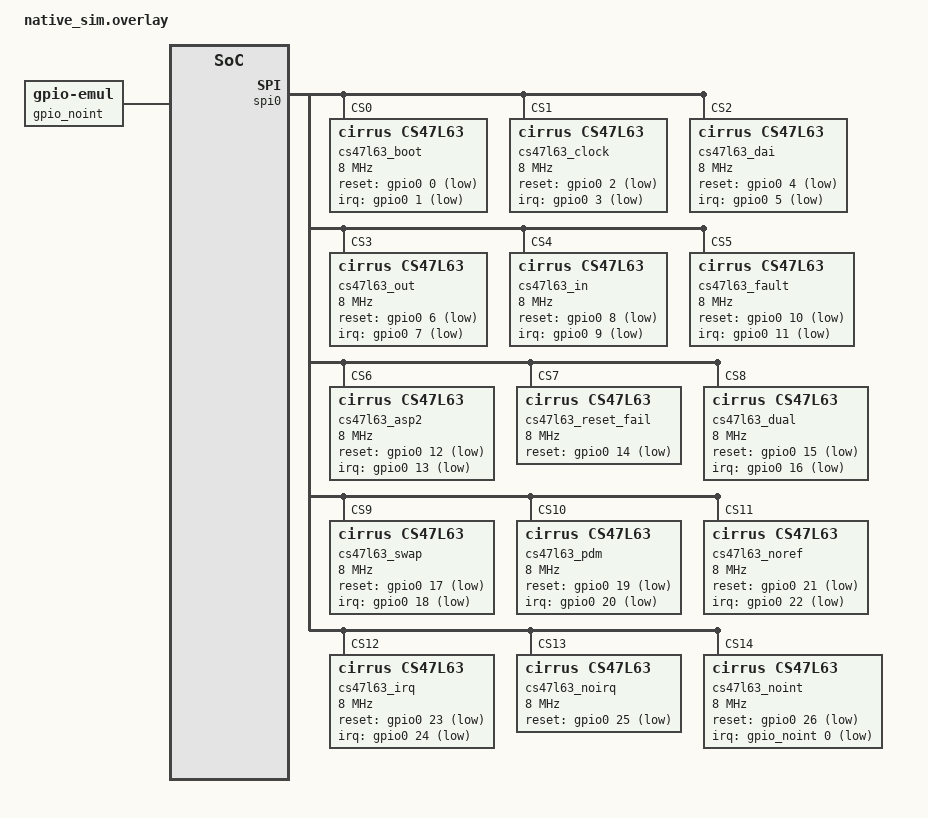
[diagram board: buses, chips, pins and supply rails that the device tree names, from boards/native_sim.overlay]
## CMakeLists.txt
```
# SPDX-FileCopyrightText: Copyright The Zephyr Project Contributors
# SPDX-License-Identifier: Apache-2.0

cmake_minimum_required(VERSION 3.20.0)
find_package(Zephyr REQUIRED HINTS $ENV{ZEPHYR_BASE})
project(cs47l63_test)

target_sources(app PRIVATE
  src/cs47l63_emul.c
  src/test_clock_solver.c
  src/test_clock_apply.c
  src/test_boot.c
  src/test_dai_configure.c
  src/test_output_path.c
  src/test_input_path.c
  src/test_fault.c
  src/test_asp2.c
  src/test_dual_asp.c
  src/test_gpio.c
  src/test_gpio_api.c
)

target_include_directories(app PRIVATE src "${ZEPHYR_BASE}/drivers/audio")
```

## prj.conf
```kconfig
# SPDX-FileCopyrightText: Copyright The Zephyr Project Contributors
# SPDX-License-Identifier: Apache-2.0

CONFIG_ZTEST=y

CONFIG_SPI=y
CONFIG_EMUL=y
CONFIG_SPI_EMUL=y
CONFIG_GPIO=y
CONFIG_GPIO_EMUL=y

CONFIG_AUDIO=y
CONFIG_AUDIO_CODEC=y
CONFIG_AUDIO_CODEC_CS47L63=y

CONFIG_LOG=y
```

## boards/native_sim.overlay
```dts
/*
 * SPDX-FileCopyrightText: Copyright The Zephyr Project Contributors
 * SPDX-License-Identifier: Apache-2.0
 */

/* One codec per suite, so no case depends on state another suite left. */

&spi0 {
	status = "okay";

	cs47l63_boot: cs47l63@0 {
		compatible = "cirrus,cs47l63";
		reg = <0>;
		spi-max-frequency = <8000000>;
		reset-gpios = <&gpio0 0 GPIO_ACTIVE_LOW>;
		irq-gpios = <&gpio0 1 (GPIO_ACTIVE_LOW | GPIO_PULL_UP)>;
		cirrus,fll-ref = "mclk1";
		status = "okay";
	};

	cs47l63_clock: cs47l63@1 {
		compatible = "cirrus,cs47l63";
		reg = <1>;
		spi-max-frequency = <8000000>;
		reset-gpios = <&gpio0 2 GPIO_ACTIVE_LOW>;
		irq-gpios = <&gpio0 3 (GPIO_ACTIVE_LOW | GPIO_PULL_UP)>;
		cirrus,fll-ref = "mclk1";
		status = "okay";
	};

	cs47l63_dai: cs47l63@2 {
		compatible = "cirrus,cs47l63";
		reg = <2>;
		spi-max-frequency = <8000000>;
		reset-gpios = <&gpio0 4 GPIO_ACTIVE_LOW>;
		irq-gpios = <&gpio0 5 (GPIO_ACTIVE_LOW | GPIO_PULL_UP)>;
		cirrus,fll-ref = "mclk1";
		status = "okay";
	};

	cs47l63_out: cs47l63@3 {
		compatible = "cirrus,cs47l63";
		reg = <3>;
		spi-max-frequency = <8000000>;
		reset-gpios = <&gpio0 6 GPIO_ACTIVE_LOW>;
		irq-gpios = <&gpio0 7 (GPIO_ACTIVE_LOW | GPIO_PULL_UP)>;
		cirrus,fll-ref = "mclk1";
		status = "okay";
	};

	cs47l63_in: cs47l63@4 {
		compatible = "cirrus,cs47l63";
		reg = <4>;
		spi-max-frequency = <8000000>;
		reset-gpios = <&gpio0 8 GPIO_ACTIVE_LOW>;
		irq-gpios = <&gpio0 9 (GPIO_ACTIVE_LOW | GPIO_PULL_UP)>;
		cirrus,fll-ref = "mclk1";
		status = "okay";
	};

	cs47l63_fault: cs47l63@5 {
		compatible = "cirrus,cs47l63";
		reg = <5>;
		spi-max-frequency = <8000000>;
		reset-gpios = <&gpio0 10 GPIO_ACTIVE_LOW>;
		irq-gpios = <&gpio0 11 (GPIO_ACTIVE_LOW | GPIO_PULL_UP)>;
		cirrus,fll-ref = "mclk1";
		status = "okay";
	};

	/* The one instance on ASP2, for test_asp2.c. */
	cs47l63_asp2: cs47l63@6 {
		compatible = "cirrus,cs47l63";
		reg = <6>;
		spi-max-frequency = <8000000>;
		reset-gpios = <&gpio0 12 GPIO_ACTIVE_LOW>;
		irq-gpios = <&gpio0 13 (GPIO_ACTIVE_LOW | GPIO_PULL_UP)>;
		cirrus,asp = <2>;
		cirrus,fll-ref = "mclk1";
		status = "okay";
	};

	/* No irq-gpios, and a reset line gpio_emul refuses to configure. */
	cs47l63_reset_fail: cs47l63@7 {
		compatible = "cirrus,cs47l63";
		reg = <7>;
		spi-max-frequency = <8000000>;
		reset-gpios = <&gpio0 14 (GPIO_ACTIVE_LOW | GPIO_OPEN_DRAIN)>;
		cirrus,fll-ref = "mclk1";
		status = "okay";
	};

	/* Both serial ports of one part: the parent on ASP1, its child on ASP2. */
	cs47l63_dual: cs47l63@8 {
		compatible = "cirrus,cs47l63";
		reg = <8>;
		spi-max-frequency = <8000000>;
		reset-gpios = <&gpio0 15 GPIO_ACTIVE_LOW>;
		irq-gpios = <&gpio0 16 (GPIO_ACTIVE_LOW | GPIO_PULL_UP)>;
		cirrus,fll-ref = "mclk1";
		status = "okay";

		cs47l63_dual_asp2: asp2 {
			cirrus,asp = <2>;
			cirrus,input = "pdm";
		};
	};

	/* The same pair with the ports swapped: the parent on ASP2. */
	cs47l63_swap: cs47l63@9 {
		compatible = "cirrus,cs47l63";
		reg = <9>;
		spi-max-frequency = <8000000>;
		reset-gpios = <&gpio0 17 GPIO_ACTIVE_LOW>;
		irq-gpios = <&gpio0 18 (GPIO_ACTIVE_LOW | GPIO_PULL_UP)>;
		cirrus,asp = <2>;
		cirrus,fll-ref = "mclk1";
		status = "okay";

		cs47l63_swap_asp1: asp1 {
			cirrus,asp = <1>;
		};
	};

	/* A PDM microphone on IN1, for test_input_path.c. */
	cs47l63_pdm: cs47l63@a {
		compatible = "cirrus,cs47l63";
		reg = <10>;
		spi-max-frequency = <8000000>;
		reset-gpios = <&gpio0 19 GPIO_ACTIVE_LOW>;
		irq-gpios = <&gpio0 20 (GPIO_ACTIVE_LOW | GPIO_PULL_UP)>;
		cirrus,input = "pdm";
		cirrus,fll-ref = "mclk1";
		status = "okay";
	};

	cs47l63_noref: cs47l63@b {
		compatible = "cirrus,cs47l63";
		reg = <11>;
		spi-max-frequency = <8000000>;
		reset-gpios = <&gpio0 21 GPIO_ACTIVE_LOW>;
		irq-gpios = <&gpio0 22 (GPIO_ACTIVE_LOW | GPIO_PULL_UP)>;
		status = "okay";
	};

	cs47l63_irq: cs47l63@c {
		compatible = "cirrus,cs47l63";
		reg = <12>;
		spi-max-frequency = <8000000>;
		reset-gpios = <&gpio0 23 GPIO_ACTIVE_LOW>;
		irq-gpios = <&gpio0 24 (GPIO_ACTIVE_LOW | GPIO_PULL_UP)>;
		cirrus,input = "pdm";
		cirrus,fll-ref = "mclk1";
		status = "okay";
	};

	cs47l63_noirq: cs47l63@d {
		compatible = "cirrus,cs47l63";
		reg = <13>;
		spi-max-frequency = <8000000>;
		reset-gpios = <&gpio0 25 GPIO_ACTIVE_LOW>;
		cirrus,fll-ref = "mclk1";
		status = "okay";
	};

	cs47l63_noint: cs47l63@e {
		compatible = "cirrus,cs47l63";
		reg = <14>;
		spi-max-frequency = <8000000>;
		reset-gpios = <&gpio0 26 GPIO_ACTIVE_LOW>;
		irq-gpios = <&gpio_noint 0 (GPIO_ACTIVE_LOW | GPIO_PULL_UP)>;
		cirrus,fll-ref = "mclk1";
		status = "okay";
	};
};

/ {
	gpio_noint: gpio_noint {
		compatible = "zephyr,gpio-emul";
		gpio-controller;
		#gpio-cells = <2>;
		status = "okay";
	};
};
```

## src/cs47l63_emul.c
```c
/*
 * SPDX-FileCopyrightText: Copyright The Zephyr Project Contributors
 * SPDX-License-Identifier: Apache-2.0
 */
/**
 * @file cs47l63_emul.c
 * @brief Recording SPI emulator for the CS47L63
 *
 * A frame that is not the driver's write or read shape fails with -EIO. EINT registers
 * are write-1-to-clear; every other register reads back what was written.
 */

#include "cs47l63_emul.h"

#include <errno.h>
#include <string.h>

#include <zephyr/audio/codec.h>
#include <zephyr/drivers/emul.h>
#include <zephyr/drivers/i2s.h>
#include <zephyr/drivers/spi.h>
#include <zephyr/drivers/spi_emul.h>
#include <zephyr/sys/__assert.h>
#include <zephyr/sys/byteorder.h>
#include <zephyr/sys/util.h>

#include "cs47l63.h"

#define DT_DRV_COMPAT cirrus_cs47l63

#define CS47L63_EMUL_READ_FLAG 0x80000000U

#define CS47L63_EMUL_WORD_BYTES  4
#define CS47L63_EMUL_READ_TX_LEN (2 * CS47L63_EMUL_WORD_BYTES)
#define CS47L63_EMUL_WRITE_LEN   (3 * CS47L63_EMUL_WORD_BYTES)

#define CS47L63_EMUL_MAX_REGS 64

#define CS47L63_EMUL_MAX_XFERS 512

#define CS47L63_EMUL_REVID 0x00000000U

#define CS47L63_EMUL_OTPID 0x00000008U

struct cs47l63_emul_reg {
	uint32_t addr;
	uint32_t val;
};

struct cs47l63_emul_data {
	struct cs47l63_emul_reg regs[CS47L63_EMUL_MAX_REGS];
	uint32_t num_regs;
	struct cs47l63_emul_xfer log[CS47L63_EMUL_MAX_XFERS];
	uint32_t num_xfers;
	uint32_t fail_addr;
	bool fail_armed;
	uint32_t fail_hits;
};

static bool is_write_one_to_clear(uint32_t addr)
{
	return addr == CS47L63_IRQ1_EINT_1 || addr == CS47L63_IRQ1_EINT_2 ||
	       addr == CS47L63_IRQ1_EINT_6;
}

static struct cs47l63_emul_reg *find_reg(struct cs47l63_emul_data *data, uint32_t addr)
{
	for (uint32_t i = 0; i < data->num_regs; i++) {
		if (data->regs[i].addr == addr) {
			return &data->regs[i];
		}
	}

	return NULL;
}

static void store_reg(struct cs47l63_emul_data *data, uint32_t addr, uint32_t val)
{
	struct cs47l63_emul_reg *reg = find_reg(data, addr);

	if (reg != NULL) {
		reg->val = val;
		return;
	}

	__ASSERT(data->num_regs < CS47L63_EMUL_MAX_REGS, "CS47L63 emulator register file full");
	data->regs[data->num_regs].addr = addr;
	data->regs[data->num_regs].val = val;
	data->num_regs++;
}

static uint32_t load_reg(struct cs47l63_emul_data *data, uint32_t addr)
{
	const struct cs47l63_emul_reg *reg = find_reg(data, addr);

	return (reg != NULL) ? reg->val : 0;
}

static void record(struct cs47l63_emul_data *data, uint32_t addr, uint32_t val, bool write)
{
	__ASSERT(data->num_xfers < CS47L63_EMUL_MAX_XFERS, "CS47L63 emulator log full");
	data->log[data->num_xfers].addr = addr;
	data->log[data->num_xfers].val = val;
	data->log[data->num_xfers].write = write;
	data->num_xfers++;
}

void cs47l63_emul_reset(const struct emul *target)
{
	struct cs47l63_emul_data *data = target->data;

	memset(data, 0, sizeof(*data));

	store_reg(data, CS47L63_DEVID, CS47L63_DEVID_CS47L63);
	store_reg(data, CS47L63_REVID, CS47L63_EMUL_REVID);
	store_reg(data, CS47L63_OTPID, CS47L63_EMUL_OTPID);
	store_reg(data, CS47L63_IRQ1_EINT_2, CS47L63_BOOT_DONE_EINT1);

	data->num_xfers = 0;
}

void cs47l63_emul_set_reg(const struct emul *target, uint32_t addr, uint32_t val)
{
	store_reg(target->data, addr, val);
}

uint32_t cs47l63_emul_get_reg(const struct emul *target, uint32_t addr)
{
	return load_reg(target->data, addr);
}

uint32_t cs47l63_emul_xfer_count(const struct emul *target)
{
	const struct cs47l63_emul_data *data = target->data;

	return data->num_xfers;
}

bool cs47l63_emul_xfer_get(const struct emul *target, uint32_t idx, struct cs47l63_emul_xfer *out)
{
	const struct cs47l63_emul_data *data = target->data;

	if (idx >= data->num_xfers || out == NULL) {
		return false;
	}

	*out = data->log[idx];

	return true;
}

static int nth_index(const struct emul *target, uint32_t addr, uint32_t nth, bool write)
{
	const struct cs47l63_emul_data *data = target->data;
	uint32_t seen = 0;

	for (uint32_t i = 0; i < data->num_xfers; i++) {
		if (data->log[i].addr != addr || data->log[i].write != write) {
			continue;
		}
		if (seen == nth) {
			return (int)i;
		}
		seen++;
	}

	return -1;
}

static uint32_t count_of(const struct emul *target, uint32_t addr, bool write)
{
	const struct cs47l63_emul_data *data = target->data;
	uint32_t count = 0;

	for (uint32_t i = 0; i < data->num_xfers; i++) {
		if (data->log[i].addr == addr && data->log[i].write == write) {
			count++;
		}
	}

	return count;
}

uint32_t cs47l63_emul_write_count(const struct emul *target, uint32_t addr)
{
	return count_of(target, addr, true);
}

uint32_t cs47l63_emul_read_count(const struct emul *target, uint32_t addr)
{
	return count_of(target, addr, false);
}

int cs47l63_emul_write_index(const struct emul *target, uint32_t addr, uint32_t nth)
{
	return nth_index(target, addr, nth, true);
}

int cs47l63_emul_read_index(const struct emul *target, uint32_t addr, uint32_t nth)
{
	return nth_index(target, addr, nth, false);
}

bool cs47l63_emul_nth_write(const struct emul *target, uint32_t addr, uint32_t nth, uint32_t *val)
{
	const struct cs47l63_emul_data *data = target->data;
	int idx = nth_index(target, addr, nth, true);

	if (idx < 0 || val == NULL) {
		return false;
	}

	*val = data->log[idx].val;

	return true;
}

void cs47l63_emul_fail_at(const struct emul *target, uint32_t addr)
{
	struct cs47l63_emul_data *data = target->data;

	data->fail_addr = addr;
	data->fail_armed = true;
}

uint32_t cs47l63_emul_fail_hits(const struct emul *target)
{
	const struct cs47l63_emul_data *data = target->data;

	return data->fail_hits;
}

struct audio_codec_cfg cs47l63_test_cfg(audio_route_t route)
{
	return (struct audio_codec_cfg){
		.mclk_freq = 6144000,
		.dai_type = AUDIO_DAI_TYPE_I2S,
		.dai_route = route,
		.dai_cfg.i2s = {
			.word_size = 16,
			.channels = 2,
			.format = I2S_FMT_DATA_FORMAT_I2S,
			.options = I2S_OPT_BIT_CLK_TARGET | I2S_OPT_FRAME_CLK_TARGET,
			.frame_clk_freq = 48000,
		},
	};
}

int cs47l63_test_configure(const struct device *dev, audio_route_t route)
{
	struct audio_codec_cfg cfg = cs47l63_test_cfg(route);

	return audio_codec_configure(dev, &cfg);
}

static int handle_read(struct cs47l63_emul_data *data, const struct spi_buf_set *tx_bufs,
		       const struct spi_buf_set *rx_bufs)
{
	uint32_t addr;
	uint32_t val;

	if (tx_bufs == NULL || tx_bufs->count != 1 ||
	    tx_bufs->buffers[0].len != CS47L63_EMUL_READ_TX_LEN ||
	    tx_bufs->buffers[0].buf == NULL) {
		return -EIO;
	}
	if (rx_bufs->count != 2 || rx_bufs->buffers[1].buf == NULL ||
	    rx_bufs->buffers[1].len != CS47L63_EMUL_WORD_BYTES) {
		return -EIO;
	}

	addr = sys_get_be32(tx_bufs->buffers[0].buf);
	if ((addr & CS47L63_EMUL_READ_FLAG) == 0) {
		return -EIO;
	}
	addr &= ~CS47L63_EMUL_READ_FLAG;

	if (sys_get_be32((const uint8_t *)tx_bufs->buffers[0].buf + CS47L63_EMUL_WORD_BYTES) != 0) {
		return -EIO;
	}

	if (data->fail_armed && data->fail_addr == addr) {
		data->fail_hits++;
		return -EIO;
	}

	val = load_reg(data, addr);
	sys_put_be32(val, rx_bufs->buffers[1].buf);
	record(data, addr, val, false);

	return 0;
}

static int handle_write(struct cs47l63_emul_data *data, const struct spi_buf_set *tx_bufs)
{
	const uint8_t *tx;
	uint32_t addr;
	uint32_t val;

	if (tx_bufs == NULL || tx_bufs->count != 1 ||
	    tx_bufs->buffers[0].len != CS47L63_EMUL_WRITE_LEN || tx_bufs->buffers[0].buf == NULL) {
		return -EIO;
	}

	tx = tx_bufs->buffers[0].buf;
	addr = sys_get_be32(tx);
	if ((addr & CS47L63_EMUL_READ_FLAG) != 0) {
		return -EIO;
	}
	if (sys_get_be32(tx + CS47L63_EMUL_WORD_BYTES) != 0) {
		return -EIO;
	}
	val = sys_get_be32(tx + 2 * CS47L63_EMUL_WORD_BYTES);

	if (data->fail_armed && data->fail_addr == addr) {
		data->fail_hits++;
		return -EIO;
	}

	record(data, addr, val, true);

	if (is_write_one_to_clear(addr)) {
		store_reg(data, addr, load_reg(data, addr) & ~val);
	} else {
		store_reg(data, addr, val);
	}

	return 0;
}

static int cs47l63_emul_io(const struct emul *target, const struct spi_config *config,
			   const struct spi_buf_set *tx_bufs, const struct spi_buf_set *rx_bufs)
{
	struct cs47l63_emul_data *data = target->data;

	ARG_UNUSED(config);

	if (rx_bufs != NULL) {
		return handle_read(data, tx_bufs, rx_bufs);
	}

	return handle_write(data, tx_bufs);
}

static int cs47l63_emul_init(const struct emul *target, const struct device *parent)
{
	ARG_UNUSED(parent);

	cs47l63_emul_reset(target);

	return 0;
}

static const struct spi_emul_api cs47l63_emul_api = {
	.io = cs47l63_emul_io,
};

#define CS47L63_EMUL_DEFINE(n)                                                                     \
	static struct cs47l63_emul_data cs47l63_emul_data_##n;                                     \
	EMUL_DT_INST_DEFINE(n, cs47l63_emul_init, &cs47l63_emul_data_##n, NULL, &cs47l63_emul_api, \
			    NULL)

DT_INST_FOREACH_STATUS_OKAY(CS47L63_EMUL_DEFINE)
```

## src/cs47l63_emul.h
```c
/*
 * SPDX-FileCopyrightText: Copyright The Zephyr Project Contributors
 * SPDX-License-Identifier: Apache-2.0
 */
/**
 * @file cs47l63_emul.h
 * @brief Recording SPI emulator for the CS47L63 and the reference configuration, for the
 *        driver's own tests
 */

#ifndef CS47L63_EMUL_H_
#define CS47L63_EMUL_H_

#include <stdbool.h>
#include <stdint.h>

#include <zephyr/audio/codec.h>
#include <zephyr/device.h>
#include <zephyr/drivers/emul.h>

#define CS47L63_EMUL_MCLK_HZ   6144000U
#define CS47L63_EMUL_WORD_BITS 16U
#define CS47L63_EMUL_CHANNELS  2U
#define CS47L63_EMUL_RATE_HZ   48000U

struct cs47l63_emul_xfer {
	uint32_t addr;
	/** Value written, or value served back on a read. */
	uint32_t val;
	bool write;
};

/** Installs a healthy part: the datasheet DEVID, OTP variant 8, boot-done latched. */
void cs47l63_emul_reset(const struct emul *target);

void cs47l63_emul_set_reg(const struct emul *target, uint32_t addr, uint32_t val);

uint32_t cs47l63_emul_get_reg(const struct emul *target, uint32_t addr);

uint32_t cs47l63_emul_xfer_count(const struct emul *target);

bool cs47l63_emul_xfer_get(const struct emul *target, uint32_t idx, struct cs47l63_emul_xfer *out);

uint32_t cs47l63_emul_write_count(const struct emul *target, uint32_t addr);

uint32_t cs47l63_emul_read_count(const struct emul *target, uint32_t addr);

/** Returns -1 for no such write; indices order transactions against each other. */
int cs47l63_emul_write_index(const struct emul *target, uint32_t addr, uint32_t nth);

int cs47l63_emul_read_index(const struct emul *target, uint32_t addr, uint32_t nth);

bool cs47l63_emul_nth_write(const struct emul *target, uint32_t addr, uint32_t nth, uint32_t *val);

/** Armed until the next reset, for one address at a time. */
void cs47l63_emul_fail_at(const struct emul *target, uint32_t addr);

/** Like cs47l63_emul_fail_at(), for writes to addr only; reads succeed. */
void cs47l63_emul_fail_write_at(const struct emul *target, uint32_t addr);

/** Makes every accepted write return @p ret, until the next reset. */
void cs47l63_emul_write_returns(const struct emul *target, int ret);

/** Runs @p fn once, from inside the next accepted write to @p addr, until the next reset. */
void cs47l63_emul_once_on_write(const struct emul *target, uint32_t addr, void (*fn)(void *arg),
				void *arg);

/** Transfers the armed failure refused since the last reset. */
uint32_t cs47l63_emul_fail_hits(const struct emul *target);

/** The reference stream: 48 kHz stereo 16-bit I2S from a 6.144 MHz MCLK, the host driving both
 *  clocks.
 */
struct audio_codec_cfg cs47l63_test_cfg(audio_route_t route);

int cs47l63_test_configure(const struct device *dev, audio_route_t route);

#endif /* CS47L63_EMUL_H_ */
```

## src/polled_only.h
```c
/*
 * SPDX-FileCopyrightText: Copyright The Zephyr Project Contributors
 * SPDX-License-Identifier: Apache-2.0
 */
/**
 * @file polled_only.h
 * @brief Checks shared by the parts that never arm the IRQ line
 */

#ifndef CS47L63_TEST_POLLED_ONLY_H_
#define CS47L63_TEST_POLLED_ONLY_H_

#include <stdint.h>

#include <zephyr/audio/codec.h>
#include <zephyr/device.h>
#include <zephyr/drivers/emul.h>
#include <zephyr/kernel.h>
#include <zephyr/sys/atomic.h>
#include <zephyr/ztest.h>

#include "cs47l63.h"

#include "cs47l63_emul.h"

#define POLLED_SETTLE_MS 100U

#define POLLED_START_WAIT_MS (CS47L63_START_TIMEOUT_MS + 100U)

static atomic_t s_cb_errors;
static atomic_t s_cb_calls;

static void polled_fault_cb(const struct device *dev, uint32_t errors)
{
	ARG_UNUSED(dev);
	(void)atomic_set(&s_cb_errors, (atomic_val_t)errors);
	(void)atomic_inc(&s_cb_calls);
}

static void polled_setup(const struct device *codec, const struct emul *emul)
{
	cs47l63_emul_reset(emul);
	zassert_ok(cs47l63_test_configure(codec, AUDIO_ROUTE_PLAYBACK_CAPTURE));

	(void)atomic_set(&s_cb_errors, 0);
	(void)atomic_set(&s_cb_calls, 0);
	zassert_ok(audio_codec_register_error_callback(codec, polled_fault_cb));
}

static void polled_teardown(const struct device *codec)
{
	audio_codec_stop_output(codec);
	zassert_ok(audio_codec_register_error_callback(codec, NULL));
}

static void polled_check_masks_untouched(const struct emul *emul)
{
	zassert_equal(cs47l63_emul_write_count(emul, CS47L63_IRQ1_MASK_1), 0U);
	zassert_equal(cs47l63_emul_write_count(emul, CS47L63_IRQ1_MASK_2), 0U);
	zassert_equal(cs47l63_emul_write_count(emul, CS47L63_IRQ1_MASK_6), 0U);
}

static void polled_check_reported_by_the_poll(const struct device *codec,
					      const struct emul *emul)
{
	audio_property_value_t unmute = {.mute = false};
	uint32_t reads;

	cs47l63_emul_set_reg(emul, CS47L63_IRQ1_STS_6, CS47L63_FLL1_LOCK_STS1);
	cs47l63_emul_set_reg(emul, CS47L63_OUTPUT_STATUS_1, CS47L63_OUT1L_EN_STS);
	audio_codec_start_output(codec);
	(void)k_msleep((int32_t)POLLED_START_WAIT_MS);
	zassert_equal(atomic_get(&s_cb_calls), 0, "the premise: the start itself raised nothing");

	reads = cs47l63_emul_read_count(emul, CS47L63_IRQ1_EINT_1);
	cs47l63_emul_set_reg(emul, CS47L63_IRQ1_EINT_1, CS47L63_SYSCLK_FAIL_EINT1);
	(void)k_msleep((int32_t)POLLED_SETTLE_MS);

	zassert_equal(cs47l63_emul_read_count(emul, CS47L63_IRQ1_EINT_1), reads,
		      "no service ran: the interrupt was never enabled");
	zassert_equal(atomic_get(&s_cb_calls), 0);

	zassert_ok(audio_codec_set_property(codec, AUDIO_PROPERTY_OUTPUT_MUTE, AUDIO_CHANNEL_ALL,
					    unmute));

	zassert_equal(atomic_get(&s_cb_calls), 1, "the poll still reports it");
	zassert_equal((uint32_t)atomic_get(&s_cb_errors), (uint32_t)AUDIO_CODEC_ERROR_CLOCK);
}

#endif /* CS47L63_TEST_POLLED_ONLY_H_ */
```

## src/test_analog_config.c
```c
/*
 * SPDX-FileCopyrightText: Copyright The Zephyr Project Contributors
 * SPDX-License-Identifier: Apache-2.0
 */
/**
 * @file test_analog_config.c
 * @brief Analog wiring taken from devicetree: the IN2 pair and the headphone load
 *
 * cs47l63_in (test_input_path.c) sets cirrus,in2-single-ended; cs47l63_diff leaves it out.
 * cs47l63_hp_low sets cirrus,hp-load-below-20-ohm; the nodes of the other suites leave it out.
 */

#include <errno.h>
#include <stdint.h>

#include <zephyr/audio/codec.h>
#include <zephyr/device.h>
#include <zephyr/kernel.h>
#include <zephyr/ztest.h>

#include "cs47l63.h"

#include "cs47l63_emul.h"

#define DIFF_CODEC DEVICE_DT_GET(DT_NODELABEL(cs47l63_diff))
#define DIFF_EMUL  EMUL_DT_GET(DT_NODELABEL(cs47l63_diff))
#define HP_CODEC   DEVICE_DT_GET(DT_NODELABEL(cs47l63_hp_low))
#define HP_EMUL    EMUL_DT_GET(DT_NODELABEL(cs47l63_hp_low))

#define START_WAIT_MS (CS47L63_START_TIMEOUT_MS + 100U)

/** DAC_IF_TEST_1 as the trim of OTP variant 8 writes it, HP1L_CFG = 010. */
#define DAC_IF_TEST_1_TRIMMED 0x700249B8U

/** The same with HP1L_CFG = 011 and every other bit as the trim left it. */
#define DAC_IF_TEST_1_LT20 0x700269B8U

static uint32_t in2_src(const struct emul *target, uint32_t addr)
{
	return (cs47l63_emul_get_reg(target, addr) & CS47L63_IN2_SRC_MASK) >> CS47L63_IN2_SRC_SHIFT;
}

static void diff_before_each(void *fixture)
{
	ARG_UNUSED(fixture);

	cs47l63_emul_reset(DIFF_EMUL);
	zassert_ok(cs47l63_test_configure(DIFF_CODEC, AUDIO_ROUTE_PLAYBACK_CAPTURE));
}

ZTEST_SUITE(cs47l63_diff, NULL, NULL, diff_before_each, NULL, NULL);

static ZTEST(cs47l63_diff, test_in2_without_the_property_is_differential)
{
	zassert_ok(audio_codec_start(DIFF_CODEC, AUDIO_DAI_DIR_RX));

	zassert_true(cs47l63_emul_write_count(DIFF_EMUL, CS47L63_IN2L_CONTROL1) > 0U,
		     "the premise: the start wrote the source of IN2L");
	zassert_true(cs47l63_emul_write_count(DIFF_EMUL, CS47L63_IN2R_CONTROL1) > 0U,
		     "and of IN2R");
	zassert_equal(in2_src(DIFF_EMUL, CS47L63_IN2L_CONTROL1), CS47L63_IN2_SRC_DIFFERENTIAL);
	zassert_equal(in2_src(DIFF_EMUL, CS47L63_IN2R_CONTROL1), CS47L63_IN2_SRC_DIFFERENTIAL);
}

static void hp_before_each(void *fixture)
{
	ARG_UNUSED(fixture);

	cs47l63_emul_reset(HP_EMUL);
}

ZTEST_SUITE(cs47l63_hp_low, NULL, NULL, hp_before_each, NULL, NULL);

static void arm_hp_write_failure(void *arg)
{
	ARG_UNUSED(arg);

	cs47l63_emul_fail_write_at(HP_EMUL, CS47L63_DAC_IF_TEST_1);
}

static ZTEST(cs47l63_hp_low, test_load_under_20_ohm_sets_only_hp1l_cfg_after_the_trim)
{
	uint32_t n;
	int amp_idx = -1;
	uint32_t val;

	zassert_ok(cs47l63_test_configure(HP_CODEC, AUDIO_ROUTE_PLAYBACK));

	zassert_equal(cs47l63_emul_get_reg(HP_EMUL, CS47L63_DAC_IF_TEST_1), DAC_IF_TEST_1_LT20,
		      "HP1L_CFG is 011 and the bits the trim set are untouched");

	n = cs47l63_emul_write_count(HP_EMUL, CS47L63_DAC_IF_TEST_1);
	zassert_equal(n, 2U, "the trim, then one update");
	zassert_true(cs47l63_emul_nth_write(HP_EMUL, CS47L63_DAC_IF_TEST_1, 0U, &val));
	zassert_equal(val, DAC_IF_TEST_1_TRIMMED, "the first write is the trim's");

	cs47l63_emul_set_reg(HP_EMUL, CS47L63_IRQ1_STS_6, CS47L63_FLL1_LOCK_STS1);
	cs47l63_emul_set_reg(HP_EMUL, CS47L63_OUTPUT_STATUS_1, CS47L63_OUT1L_EN_STS);
	audio_codec_start_output(HP_CODEC);
	(void)k_msleep((int32_t)START_WAIT_MS);
	audio_codec_stop_output(HP_CODEC);

	n = cs47l63_emul_write_count(HP_EMUL, CS47L63_OUTPUT_ENABLE_1);
	for (uint32_t i = 0U; i < n; i++) {
		zassert_true(cs47l63_emul_nth_write(HP_EMUL, CS47L63_OUTPUT_ENABLE_1, i, &val));
		if ((val & CS47L63_OUT1L_EN) != 0U) {
			amp_idx = cs47l63_emul_write_index(HP_EMUL, CS47L63_OUTPUT_ENABLE_1, i);
			break;
		}
	}

	zassert_true(amp_idx >= 0, "the premise: the start enabled the amplifier");
	zassert_true(cs47l63_emul_write_index(HP_EMUL, CS47L63_DAC_IF_TEST_1, 1U) >
			     cs47l63_emul_write_index(HP_EMUL, CS47L63_DAC_IF_TEST_1, 0U),
		     "the update comes after the trim, which rewrites the whole register");
	zassert_true(amp_idx > cs47l63_emul_write_index(HP_EMUL, CS47L63_DAC_IF_TEST_1, 1U),
		     "and before the amplifier is enabled");
}

static ZTEST(cs47l63_hp_low, test_failed_hp1l_cfg_update_fails_configure)
{
	cs47l63_emul_once_on_write(HP_EMUL, CS47L63_DAC_IF_TEST_1, arm_hp_write_failure, NULL);

	zassert_equal(-EIO, cs47l63_test_configure(HP_CODEC, AUDIO_ROUTE_PLAYBACK));

	zassert_equal(cs47l63_emul_fail_hits(HP_EMUL), 1U,
		      "the injection took effect: the update after the trim was refused");
	zassert_equal(cs47l63_emul_get_reg(HP_EMUL, CS47L63_OUTPUT_ENABLE_1) & CS47L63_OUT1L_EN, 0U,
		      "a failed configure leaves the amplifier disabled");
	zassert_equal(-EINVAL, audio_codec_start(HP_CODEC, AUDIO_DAI_DIR_TX),
		      "and the port unconfigured");
}
```

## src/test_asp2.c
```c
/*
 * SPDX-FileCopyrightText: Copyright The Zephyr Project Contributors
 * SPDX-License-Identifier: Apache-2.0
 */
/**
 * @file test_asp2.c
 * @brief cirrus,asp = <2>: every serial-port access moves to ASP2
 *
 * ASP2 addresses are written out from DS1249F2 sections 4.7-4.8, not derived from the
 * ASP1 names, so a wrong driver offset cannot cancel out. ASP1 must stay untouched.
 */

#include <stdint.h>

#include <zephyr/audio/codec.h>
#include <zephyr/device.h>
#include <zephyr/ztest.h>

#include "cs47l63.h"

#include "cs47l63_emul.h"

#define CODEC DEVICE_DT_GET(DT_NODELABEL(cs47l63_asp2))
#define EMUL  EMUL_DT_GET(DT_NODELABEL(cs47l63_asp2))

/* ASP2 registers, DS1249F2 register map. */
#define ASP2_ENABLES1      0x00006080U
#define ASP2_CONTROL1      0x00006084U
#define ASP2_CONTROL2      0x00006088U
#define ASP2_DATA_CONTROL1 0x000060B0U
#define ASP2_DATA_CONTROL5 0x000060C0U
#define ASP2TX1_INPUT1     0x00008300U
#define ASP2TX2_INPUT1     0x00008310U
#define GPIO5_CTRL1        0x00000C18U
#define GPIO6_CTRL1        0x00000C1CU
#define GPIO7_CTRL1        0x00000C20U
#define GPIO8_CTRL1        0x00000C24U

#define MIXER_SRC_ASP2RX1 0x030U
#define MIXER_SRC_ASP2RX2 0x031U

#define OUTPUT_HP 0U

#define ASP_RX_EN_BOTH (CS47L63_ASP1_RX1_EN | CS47L63_ASP1_RX2_EN)
#define ASP_TX_EN_BOTH (CS47L63_ASP1_TX1_EN | CS47L63_ASP1_TX2_EN)

#define MIX_SLOT(src) (((uint32_t)CS47L63_OUT1LMIX_VOL_0DB << CS47L63_OUT1LMIX_VOL_SHIFT) | (src))
/** One of two routed slots: each at -6 dB, so their sum cannot clip. */
#define MIX_PAIR(src) (((uint32_t)CS47L63_OUT1LMIX_VOL_M6DB << CS47L63_OUT1LMIX_VOL_SHIFT) | (src))

/** Both slot widths, the format code, and every clock-controller and inversion bit low. */
#define EXPECT_CONTROL2                                                                            \
	((CS47L63_EMUL_WORD_BITS << CS47L63_ASP1_RX_WIDTH_SHIFT) |                                 \
	 (CS47L63_EMUL_WORD_BITS << CS47L63_ASP1_TX_WIDTH_SHIFT) |                                 \
	 ((uint32_t)CS47L63_ASP1_FMT_I2S << CS47L63_ASP1_FMT_SHIFT))

static void assert_asp1_untouched(void)
{
	static const uint32_t k_asp1_only[] = {
		CS47L63_ASP1_ENABLES1,      CS47L63_ASP1_CONTROL1,      CS47L63_ASP1_CONTROL2,
		CS47L63_ASP1_DATA_CONTROL1, CS47L63_ASP1_DATA_CONTROL5, CS47L63_ASP1TX1_INPUT1,
		CS47L63_ASP1TX2_INPUT1,     CS47L63_GPIO1_CTRL1,        CS47L63_GPIO2_CTRL1,
		CS47L63_GPIO3_CTRL1,        CS47L63_GPIO4_CTRL1,
	};

	for (size_t i = 0U; i < ARRAY_SIZE(k_asp1_only); i++) {
		zassert_equal(cs47l63_emul_write_count(EMUL, k_asp1_only[i]), 0U,
			      "ASP1 register 0x%05x written on an ASP2 board", k_asp1_only[i]);
		zassert_equal(cs47l63_emul_read_count(EMUL, k_asp1_only[i]), 0U,
			      "ASP1 register 0x%05x read on an ASP2 board", k_asp1_only[i]);
	}
}

static void asp2_before_each(void *fixture)
{
	ARG_UNUSED(fixture);

	cs47l63_emul_reset(EMUL);
	zassert_ok(cs47l63_test_configure(CODEC, AUDIO_ROUTE_PLAYBACK_CAPTURE));
}

ZTEST_SUITE(cs47l63_asp2, NULL, NULL, asp2_before_each, NULL, NULL);

static ZTEST(cs47l63_asp2, test_configure_programs_the_asp2_port_block)
{
	zassert_equal((cs47l63_emul_get_reg(EMUL, ASP2_CONTROL1) & CS47L63_ASP1_RATE_MASK) >>
			      CS47L63_ASP1_RATE_SHIFT,
		      CS47L63_ASP1_RATE_SEL_SAMPLE_RATE1);
	zassert_true(cs47l63_emul_write_count(EMUL, ASP2_CONTROL2) >= 1U);
	zassert_equal(cs47l63_emul_get_reg(EMUL, ASP2_CONTROL2), EXPECT_CONTROL2);
	zassert_equal(cs47l63_emul_get_reg(EMUL, ASP2_DATA_CONTROL1) & CS47L63_ASP1_TX_WL_MASK,
		      CS47L63_EMUL_WORD_BITS);
	zassert_equal(cs47l63_emul_get_reg(EMUL, ASP2_DATA_CONTROL5) & CS47L63_ASP1_RX_WL_MASK,
		      CS47L63_EMUL_WORD_BITS);
	zassert_equal(cs47l63_emul_get_reg(EMUL, ASP2_ENABLES1), 0U, "the slots wait for a start");

	audio_codec_start_output(CODEC);
	zassert_equal(cs47l63_emul_get_reg(EMUL, ASP2_ENABLES1), ASP_RX_EN_BOTH,
		      "both receive slots of ASP2 carry the stereo stream");

	assert_asp1_untouched();
}

static ZTEST(cs47l63_asp2, test_configure_muxes_gpio5_to_8)
{
	static const struct {
		uint32_t addr;
		uint32_t val;
	} k_pads[] = {
		{GPIO5_CTRL1, CS47L63_GP_CTRL1_ASP_PAD},
		{GPIO6_CTRL1, CS47L63_GP_CTRL1_ASP_PAD | CS47L63_GP_DIR_INPUT},
		{GPIO7_CTRL1, CS47L63_GP_CTRL1_ASP_PAD | CS47L63_GP_DIR_INPUT},
		{GPIO8_CTRL1, CS47L63_GP_CTRL1_ASP_PAD | CS47L63_GP_DIR_INPUT},
	};

	/* GPIO5 (DOUT) is an output; DIN, BCLK and FSYNC are inputs. */
	for (size_t i = 0U; i < ARRAY_SIZE(k_pads); i++) {
		uint32_t val;

		zassert_true(cs47l63_emul_nth_write(EMUL, k_pads[i].addr, 0U, &val),
			     "pad 0x%05x must be muxed to its ASP function", k_pads[i].addr);
		zassert_equal(val, k_pads[i].val, "pad 0x%05x got the wrong configuration",
			      k_pads[i].addr);
	}

	assert_asp1_untouched();
}

static ZTEST(cs47l63_asp2, test_output_mixer_takes_the_asp2_receive_channels)
{
	audio_codec_start_output(CODEC);

	zassert_equal(cs47l63_emul_get_reg(EMUL, CS47L63_OUT1L_INPUT1),
		      MIX_PAIR(MIXER_SRC_ASP2RX1));
	zassert_equal(cs47l63_emul_get_reg(EMUL, CS47L63_OUT1L_INPUT2),
		      MIX_PAIR(MIXER_SRC_ASP2RX2));

	zassert_ok(audio_codec_route_output(CODEC, AUDIO_CHANNEL_FRONT_LEFT,
					    OUTPUT_HP));
	zassert_equal(cs47l63_emul_get_reg(EMUL, CS47L63_OUT1L_INPUT1),
		      MIX_SLOT(MIXER_SRC_ASP2RX1));
	zassert_equal(cs47l63_emul_get_reg(EMUL, CS47L63_OUT1L_INPUT2),
		      MIX_SLOT(CS47L63_MIXER_SRC_NONE));

	zassert_ok(audio_codec_route_output(CODEC, AUDIO_CHANNEL_FRONT_RIGHT,
					    OUTPUT_HP));
	zassert_equal(cs47l63_emul_get_reg(EMUL, CS47L63_OUT1L_INPUT1),
		      MIX_SLOT(MIXER_SRC_ASP2RX2));

	assert_asp1_untouched();
}

static ZTEST(cs47l63_asp2, test_input_start_and_stop_use_the_asp2_transmit_side)
{
	uint32_t val;

	audio_codec_start_output(CODEC);
	zassert_ok(audio_codec_start(CODEC, AUDIO_DAI_DIR_RX));

	zassert_equal(cs47l63_emul_get_reg(EMUL, ASP2TX1_INPUT1),
		      MIX_SLOT(CS47L63_MIXER_SRC_IN2L));
	zassert_equal(cs47l63_emul_get_reg(EMUL, ASP2TX2_INPUT1),
		      MIX_SLOT(CS47L63_MIXER_SRC_IN2R));
	val = cs47l63_emul_get_reg(EMUL, ASP2_ENABLES1);
	zassert_equal(val & ASP_TX_EN_BOTH, ASP_TX_EN_BOTH, "the ASP2 transmit slots come up");
	zassert_equal(val & ASP_RX_EN_BOTH, ASP_RX_EN_BOTH, "and its receive slots survive it");

	zassert_ok(audio_codec_stop(CODEC, AUDIO_DAI_DIR_RX));

	zassert_equal(cs47l63_emul_get_reg(EMUL, ASP2_ENABLES1), ASP_RX_EN_BOTH);
	zassert_equal(cs47l63_emul_get_reg(EMUL, ASP2TX1_INPUT1),
		      MIX_SLOT(CS47L63_MIXER_SRC_NONE));
	zassert_equal(cs47l63_emul_get_reg(EMUL, ASP2TX2_INPUT1),
		      MIX_SLOT(CS47L63_MIXER_SRC_NONE));

	assert_asp1_untouched();
}

static ZTEST(cs47l63_asp2, test_input_hpf_does_not_depend_on_the_port)
{
	static const uint32_t k_control1[] = {
		CS47L63_IN1L_CONTROL1,
		CS47L63_IN1R_CONTROL1,
		CS47L63_IN2L_CONTROL1,
		CS47L63_IN2R_CONTROL1,
	};

	for (size_t i = 0U; i < ARRAY_SIZE(k_control1); i++) {
		zassert_not_equal(cs47l63_emul_get_reg(EMUL, k_control1[i]) & CS47L63_IN_HPF, 0U,
				  "HPF enabled on 0x%05x on an ASP2 board too", k_control1[i]);
	}
}
```

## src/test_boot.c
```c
/*
 * SPDX-FileCopyrightText: Copyright The Zephyr Project Contributors
 * SPDX-License-Identifier: Apache-2.0
 */
/**
 * @file test_boot.c
 * @brief Bring-up by configure(): reset, boot-done, identification and trim
 */

#include <errno.h>
#include <stdbool.h>
#include <stdint.h>

#include <zephyr/audio/codec.h>
#include <zephyr/device.h>
#include <zephyr/drivers/gpio.h>
#include <zephyr/drivers/gpio/gpio_emul.h>
#include <zephyr/ztest.h>

#include "cs47l63.h"

#include "cs47l63_emul.h"

#define CODEC DEVICE_DT_GET(DT_NODELABEL(cs47l63_boot))
#define EMUL  EMUL_DT_GET(DT_NODELABEL(cs47l63_boot))

static const struct gpio_dt_spec reset_gpio =
	GPIO_DT_SPEC_GET(DT_NODELABEL(cs47l63_boot), reset_gpios);

#define CODEC_RESET_FAIL DEVICE_DT_GET(DT_NODELABEL(cs47l63_reset_fail))
#define EMUL_RESET_FAIL  EMUL_DT_GET(DT_NODELABEL(cs47l63_reset_fail))

static const struct gpio_dt_spec reset_fail_gpio =
	GPIO_DT_SPEC_GET(DT_NODELABEL(cs47l63_reset_fail), reset_gpios);

#define OTPID_TRIMMED 0x8U

#define BOOT_POLL_MAX 20U

/** The vendor's cs47l63_otpid_8_patch() trim block. */
static const struct {
	uint32_t addr;
	uint32_t val;
} k_trim[] = {
	{CS47L63_DAC_IF_CONTROL_1, 0x1DB10000},  {CS47L63_DAC_IF_TEST_1, 0x700249B8},
	{CS47L63_HP_OCD_CTRL1, 0x00010000},      {CS47L63_HP_OCD_TEST1, 0x000005FF},
	{CS47L63_MICBIAS_TST_CTRL1, 0x04150415}, {CS47L63_MICBIAS_TST_CTRL4, 0x00000415},
};

static gpio_flags_t s_flags_before_first_bringup;

static void *suite_setup(void)
{
	zassert_ok(gpio_emul_flags_get_dt(&reset_gpio, &s_flags_before_first_bringup));

	return NULL;
}

static void before_each(void *fixture)
{
	ARG_UNUSED(fixture);

	cs47l63_emul_reset(EMUL);
}

ZTEST_SUITE(cs47l63_boot, NULL, suite_setup, before_each, NULL, NULL);

ZTEST(cs47l63_boot, test_reset_line_is_driven_and_released)
{
	gpio_flags_t flags;

	zassert_equal(s_flags_before_first_bringup & GPIO_OUTPUT, 0,
		      "the driver must not have driven reset before it was asked to");

	zassert_ok(cs47l63_test_configure(CODEC, AUDIO_ROUTE_PLAYBACK_CAPTURE));

	zassert_ok(gpio_emul_flags_get_dt(&reset_gpio, &flags));
	zassert_not_equal(flags & GPIO_OUTPUT, 0, "reset must be driven, not left floating");

	/* gpio_emul_output_get_dt() ignores GPIO_ACTIVE_LOW, so the released reset reads 1. */
	zassert_equal(gpio_emul_output_get_dt(&reset_gpio), 1,
		      "reset must be released when bring-up returns, or the part stays held");
}

ZTEST(cs47l63_boot, test_waits_for_boot_done_before_reading_the_id)
{
	int boot_idx;
	int devid_idx;

	zassert_ok(cs47l63_test_configure(CODEC, AUDIO_ROUTE_PLAYBACK_CAPTURE));

	boot_idx = cs47l63_emul_read_index(EMUL, CS47L63_IRQ1_EINT_2, 0);
	devid_idx = cs47l63_emul_read_index(EMUL, CS47L63_DEVID, 0);

	zassert_true(boot_idx >= 0, "boot-done must be polled");
	zassert_true(devid_idx > boot_idx,
		     "the register file is only trustworthy once boot-done has asserted");
}

ZTEST(cs47l63_boot, test_boot_done_that_never_asserts_times_out)
{
	cs47l63_emul_set_reg(EMUL, CS47L63_IRQ1_EINT_2, 0);

	zassert_equal(-ETIMEDOUT, cs47l63_test_configure(CODEC, AUDIO_ROUTE_PLAYBACK_CAPTURE),
		      "a part that never reports boot-done is not running");

	zassert_equal(cs47l63_emul_read_count(EMUL, CS47L63_IRQ1_EINT_2), BOOT_POLL_MAX,
		      "the poll must be bounded at 20 reads");
	zassert_equal(cs47l63_emul_get_reg(EMUL, CS47L63_IRQ1_EINT_2), 0,
		      "boot-done must have stayed clear throughout");
	zassert_equal(cs47l63_emul_read_count(EMUL, CS47L63_DEVID), 0,
		      "nothing may be read out of a part that never booted");
}

ZTEST(cs47l63_boot, test_device_id_is_read_and_accepted)
{
	zassert_ok(cs47l63_test_configure(CODEC, AUDIO_ROUTE_PLAYBACK_CAPTURE));

	zassert_true(cs47l63_emul_read_count(EMUL, CS47L63_DEVID) >= 1,
		     "the part must be identified, not assumed");
	zassert_true(cs47l63_emul_read_count(EMUL, CS47L63_REVID) >= 1,
		     "the revision is read alongside it");
}

ZTEST(cs47l63_boot, test_all_zero_device_id_fails_initialisation)
{
	cs47l63_emul_set_reg(EMUL, CS47L63_DEVID, 0);

	zassert_equal(-ENODEV, cs47l63_test_configure(CODEC, AUDIO_ROUTE_PLAYBACK_CAPTURE),
		      "an implausible ID must fail, and must fail distinguishably");

	zassert_equal(cs47l63_emul_read_count(EMUL, CS47L63_DEVID), 1,
		      "the injected ID was read exactly once");
	zassert_equal(cs47l63_emul_write_count(EMUL, CS47L63_DAC_IF_CONTROL_1), 0,
		      "no trim may be written into a part that is not the expected one");
	zassert_equal(cs47l63_emul_write_count(EMUL, CS47L63_TEST_KEY_CTRL), 0,
		      "and the register-region lock must never be opened");
}

ZTEST(cs47l63_boot, test_all_ones_device_id_fails_initialisation)
{
	cs47l63_emul_set_reg(EMUL, CS47L63_DEVID, CS47L63_DEVID_MASK);

	zassert_equal(-ENODEV, cs47l63_test_configure(CODEC, AUDIO_ROUTE_PLAYBACK_CAPTURE));
	zassert_equal(cs47l63_emul_read_count(EMUL, CS47L63_DEVID), 1);
	zassert_equal(cs47l63_emul_write_count(EMUL, CS47L63_DAC_IF_CONTROL_1), 0);
}

ZTEST(cs47l63_boot, test_wrong_device_id_fails_initialisation)
{
	struct cs47l63_emul_xfer xfer;
	int devid_idx;

	cs47l63_emul_set_reg(EMUL, CS47L63_DEVID, CS47L63_DEVID_CS47L63 - 1U);

	zassert_equal(-ENODEV, cs47l63_test_configure(CODEC, AUDIO_ROUTE_PLAYBACK_CAPTURE),
		      "a readable ID that is not the CS47L63's must fail");

	devid_idx = cs47l63_emul_read_index(EMUL, CS47L63_DEVID, 0);
	zassert_true(devid_idx >= 0);
	zassert_true(cs47l63_emul_xfer_get(EMUL, (uint32_t)devid_idx, &xfer));
	zassert_equal(xfer.val, CS47L63_DEVID_CS47L63 - 1U,
		      "the injection took effect: the wrong ID was served");
	for (uint32_t i = (uint32_t)devid_idx + 1U; i < cs47l63_emul_xfer_count(EMUL); i++) {
		zassert_true(cs47l63_emul_xfer_get(EMUL, i, &xfer));
		zassert_false(xfer.write, "no write may follow a rejected ID (reg 0x%05x)",
			      xfer.addr);
	}
}

ZTEST(cs47l63_boot, test_id_read_that_fails_on_the_bus_propagates)
{
	cs47l63_emul_fail_at(EMUL, CS47L63_DEVID);

	zassert_equal(-EIO, cs47l63_test_configure(CODEC, AUDIO_ROUTE_PLAYBACK_CAPTURE),
		      "a bus failure is not the same answer as a wrong part");
	zassert_equal(cs47l63_emul_read_count(EMUL, CS47L63_DEVID), 0,
		      "the injection took effect: the read never completed");
}

ZTEST(cs47l63_boot, test_trim_block_is_written_whole_and_behind_the_lock)
{
	uint32_t val;
	int unlock_idx;
	int lock_idx;

	cs47l63_emul_set_reg(EMUL, CS47L63_OTPID, OTPID_TRIMMED);

	zassert_ok(cs47l63_test_configure(CODEC, AUDIO_ROUTE_PLAYBACK_CAPTURE));

	zassert_equal(cs47l63_emul_write_count(EMUL, CS47L63_TEST_KEY_CTRL), 4);
	zassert_equal(cs47l63_emul_write_count(EMUL, CS47L63_USER_KEY_CTRL), 4);

	zassert_true(cs47l63_emul_nth_write(EMUL, CS47L63_TEST_KEY_CTRL, 0, &val));
	zassert_equal(val, CS47L63_KEY_UNLOCK_CODE0);
	zassert_true(cs47l63_emul_nth_write(EMUL, CS47L63_TEST_KEY_CTRL, 1, &val));
	zassert_equal(val, CS47L63_KEY_UNLOCK_CODE1);
	zassert_true(cs47l63_emul_nth_write(EMUL, CS47L63_TEST_KEY_CTRL, 2, &val));
	zassert_equal(val, CS47L63_KEY_LOCK_CODE0);
	zassert_true(cs47l63_emul_nth_write(EMUL, CS47L63_TEST_KEY_CTRL, 3, &val));
	zassert_equal(val, CS47L63_KEY_LOCK_CODE1);

	unlock_idx = cs47l63_emul_write_index(EMUL, CS47L63_USER_KEY_CTRL, 1);
	lock_idx = cs47l63_emul_write_index(EMUL, CS47L63_USER_KEY_CTRL, 2);

	for (size_t i = 0; i < ARRAY_SIZE(k_trim); i++) {
		int idx = cs47l63_emul_write_index(EMUL, k_trim[i].addr, 0);

		zassert_true(idx > unlock_idx && idx < lock_idx,
			     "trim register 0x%05x must be written inside the unlocked window",
			     k_trim[i].addr);
		zassert_true(cs47l63_emul_nth_write(EMUL, k_trim[i].addr, 0, &val));
		zassert_equal(val, k_trim[i].val, "trim register 0x%05x got the wrong value",
			      k_trim[i].addr);
	}
}

ZTEST(cs47l63_boot, test_untrimmed_otp_variant_gets_no_trim_block)
{
	cs47l63_emul_set_reg(EMUL, CS47L63_OTPID, 0x1);

	zassert_ok(cs47l63_test_configure(CODEC, AUDIO_ROUTE_PLAYBACK_CAPTURE));

	zassert_equal(cs47l63_emul_read_count(EMUL, CS47L63_OTPID), 1,
		      "the variant must be read, not assumed");
	zassert_equal(cs47l63_emul_write_count(EMUL, CS47L63_TEST_KEY_CTRL), 0,
		      "the lock stays closed when there is nothing to write behind it");

	for (size_t i = 0; i < ARRAY_SIZE(k_trim); i++) {
		zassert_equal(cs47l63_emul_write_count(EMUL, k_trim[i].addr), 0,
			      "trim register 0x%05x must not be touched", k_trim[i].addr);
	}
}

ZTEST(cs47l63_boot, test_failed_trim_write_relocks_the_region)
{
	uint32_t val;

	cs47l63_emul_set_reg(EMUL, CS47L63_OTPID, OTPID_TRIMMED);
	cs47l63_emul_fail_at(EMUL, CS47L63_HP_OCD_CTRL1);

	zassert_equal(-EIO, cs47l63_test_configure(CODEC, AUDIO_ROUTE_PLAYBACK_CAPTURE));

	zassert_equal(cs47l63_emul_write_count(EMUL, CS47L63_HP_OCD_CTRL1), 0,
		      "the injection took effect: the armed write never landed");
	zassert_equal(cs47l63_emul_write_count(EMUL, CS47L63_TEST_KEY_CTRL), 4,
		      "the lock pair must go out even on the way out of a failure");
	zassert_true(cs47l63_emul_nth_write(EMUL, CS47L63_TEST_KEY_CTRL, 3, &val));
	zassert_equal(val, CS47L63_KEY_LOCK_CODE1,
		      "the region must be left locked, never open after an aborted trim");
}

ZTEST(cs47l63_boot, test_failed_unlock_relocks_the_region)
{
	uint32_t val;

	cs47l63_emul_set_reg(EMUL, CS47L63_OTPID, OTPID_TRIMMED);
	cs47l63_emul_fail_at(EMUL, CS47L63_USER_KEY_CTRL);

	zassert_equal(-EIO, cs47l63_test_configure(CODEC, AUDIO_ROUTE_PLAYBACK_CAPTURE));

	zassert_equal(cs47l63_emul_write_count(EMUL, CS47L63_USER_KEY_CTRL), 0,
		      "the injection took effect: the unlock never completed");
	zassert_true(cs47l63_emul_nth_write(EMUL, CS47L63_TEST_KEY_CTRL, 1, &val),
		     "a lock must be attempted after a failed unlock");
	zassert_equal(val, CS47L63_KEY_LOCK_CODE0);
	zassert_equal(cs47l63_emul_write_count(EMUL, CS47L63_DAC_IF_CONTROL_1), 0,
		      "no trim may be written after a failed unlock");
}

ZTEST(cs47l63_boot, test_reset_line_that_cannot_be_driven_aborts_bringup)
{
	gpio_flags_t flags;

	cs47l63_emul_reset(EMUL_RESET_FAIL);

	zassert_equal(-ENOTSUP,
		      cs47l63_test_configure(CODEC_RESET_FAIL, AUDIO_ROUTE_PLAYBACK_CAPTURE),
		      "the GPIO error must reach the caller");

	zassert_ok(gpio_emul_flags_get_dt(&reset_fail_gpio, &flags));
	zassert_equal(flags & GPIO_OUTPUT, 0,
		      "the injection took effect: the line was never configured");
	zassert_equal(cs47l63_emul_xfer_count(EMUL_RESET_FAIL), 0,
		      "nothing may be polled or read from a part whose reset failed");
}

ZTEST(cs47l63_boot, test_start_before_configure_writes_nothing)
{
	/* The other cases configure CODEC; no configure of this node ever succeeds. */
	cs47l63_emul_reset(EMUL_RESET_FAIL);

	zassert_equal(-EINVAL, audio_codec_start(CODEC_RESET_FAIL, AUDIO_DAI_DIR_RX));
	zassert_equal(-EINVAL, audio_codec_start(CODEC_RESET_FAIL, AUDIO_DAI_DIR_TX));
	audio_codec_start_output(CODEC_RESET_FAIL);

	zassert_equal(cs47l63_emul_xfer_count(EMUL_RESET_FAIL), 0,
		      "a part never configured is not touched");
}

ZTEST(cs47l63_boot, test_configure_that_never_reset_the_part_keeps_it_stoppable)
{
	const struct cs47l63_config *config = CODEC_RESET_FAIL->config;
	audio_property_value_t mute = {.mute = true};
	audio_property_value_t vol = {.vol = -20};
	gpio_flags_t flags;
	uint32_t out_en;
	uint32_t in_en;

	/* No configure of this node gets past its reset, so the output and input a previous
	 * configuration left running are set directly, as cs47l63_out_confirm_start() and
	 * port_in_start() would.
	 */
	cs47l63_emul_reset(EMUL_RESET_FAIL);
	config->chip->output_running = true;
	config->port->in_started = true;
	config->chip->in_users[config->port->in_terminal] |= BIT(config->port->asp - 1U);

	zassert_equal(-ENOTSUP,
		      cs47l63_test_configure(CODEC_RESET_FAIL, AUDIO_ROUTE_PLAYBACK_CAPTURE));
	zassert_ok(gpio_emul_flags_get_dt(&reset_fail_gpio, &flags));
	zassert_equal(flags & GPIO_OUTPUT, 0,
		      "the injection took effect: the reset line was never driven");

	zassert_true(config->chip->output_running,
		     "an output the reset never reached is still live");
	zassert_true(config->port->in_started, "an input the reset never reached is still live");

	cs47l63_emul_reset(EMUL_RESET_FAIL);
	zassert_ok(audio_codec_set_property(CODEC_RESET_FAIL, AUDIO_PROPERTY_OUTPUT_VOLUME,
					    AUDIO_CHANNEL_ALL, vol));
	zassert_true(cs47l63_emul_write_count(EMUL_RESET_FAIL, CS47L63_OUT1L_VOLUME_1) >= 1,
		     "the level still reaches a live output");
	cs47l63_emul_reset(EMUL_RESET_FAIL);
	zassert_ok(audio_codec_set_property(CODEC_RESET_FAIL, AUDIO_PROPERTY_INPUT_MUTE,
					    AUDIO_CHANNEL_ALL, mute));
	zassert_true(cs47l63_emul_xfer_count(EMUL_RESET_FAIL) >= 1,
		     "the mute still reaches a live input");

	/* Enabled on the part, so the checks below prove stop cleared them. */
	cs47l63_emul_set_reg(EMUL_RESET_FAIL, CS47L63_OUTPUT_ENABLE_1, CS47L63_OUT1L_EN);
	cs47l63_emul_set_reg(EMUL_RESET_FAIL, CS47L63_INPUT_CONTROL,
			     CS47L63_IN2L_EN | CS47L63_IN2R_EN);

	audio_codec_stop_output(CODEC_RESET_FAIL);
	zassert_ok(audio_codec_stop(CODEC_RESET_FAIL, AUDIO_DAI_DIR_RX));
	out_en = cs47l63_emul_get_reg(EMUL_RESET_FAIL, CS47L63_OUTPUT_ENABLE_1);
	zassert_equal(out_en & CS47L63_OUT1L_EN, 0, "stop takes the amplifier down");
	in_en = cs47l63_emul_get_reg(EMUL_RESET_FAIL, CS47L63_INPUT_CONTROL) &
		(CS47L63_IN2L_EN | CS47L63_IN2R_EN | CS47L63_IN1L_EN | CS47L63_IN1R_EN);
	zassert_equal(in_en, 0, "stop takes the input down");
	zassert_false(config->chip->output_running);
	zassert_false(config->port->in_started);
}
```

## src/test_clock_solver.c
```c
/*
 * SPDX-FileCopyrightText: Copyright The Zephyr Project Contributors
 * SPDX-License-Identifier: Apache-2.0
 */
/**
 * @file test_clock_solver.c
 * @brief cs47l63_clock_solve(), the pure half of the FLL1 path
 *
 * Expected values are DS1249F2's: FLL output 45 to 50 MHz, exactly 49.152 MHz for SYSCLK in
 * the 48 kHz family (section 4.10.7.4), reference at most 13 MHz (section 4.10.7.3).
 */

#include <errno.h>
#include <stdint.h>

#include <zephyr/ztest.h>

#include "cs47l63.h"

/** The reference-divider ceiling, DS1249F2 section 4.10.7.3. */
#define FREF_MAX_HZ 13000000U

/** FFLL = (FREF >> FLL1_REFCLK_DIV) * FLL1_FB_DIV * (N + THETA / LAMBDA). */
static uint64_t decoded_fout(const struct cs47l63_fll_solution *sol, uint32_t fref_hz)
{
	uint64_t fref = (uint64_t)fref_hz >> sol->refclk_div;
	uint64_t num = (uint64_t)sol->n * sol->lambda + sol->theta;

	zassert_not_equal(sol->lambda, 0, "LAMBDA is the divisor of the fractional term");
	zassert_true(fref <= FREF_MAX_HZ, "REFCLK_DIV must bring the reference to 13 MHz or below");

	return fref * sol->fb_div * num / sol->lambda;
}

ZTEST_SUITE(cs47l63_clock_solver, NULL, NULL, NULL, NULL, NULL);

ZTEST(cs47l63_clock_solver, test_nominal_6m144_to_49m152)
{
	struct cs47l63_fll_solution sol;

	zassert_ok(cs47l63_clock_solve(6144000, &sol));

	zassert_equal(sol.refclk_div, 0, "6.144 MHz is already below the 13 MHz input ceiling");
	zassert_equal(decoded_fout(&sol, 6144000), CS47L63_FLL_FOUT_HZ,
		      "the solved terms must reproduce 49.152 MHz exactly");
}

ZTEST(cs47l63_clock_solver, test_integer_references_decode_back_exactly)
{
	/* Each reference divides 49.152 MHz exactly: no fractional term. */
	static const uint32_t k_fref[] = {32768, 3072000, 6144000, 12288000};

	for (size_t i = 0; i < ARRAY_SIZE(k_fref); i++) {
		struct cs47l63_fll_solution sol;

		zassert_ok(cs47l63_clock_solve(k_fref[i], &sol),
			   "%u Hz divides 49.152 MHz exactly and must solve", k_fref[i]);
		zassert_equal(sol.theta, 0, "%u Hz needs no fractional term", k_fref[i]);
		zassert_equal(decoded_fout(&sol, k_fref[i]), CS47L63_FLL_FOUT_HZ,
			      "%u Hz decoded to the wrong output", k_fref[i]);
	}
}

ZTEST(cs47l63_clock_solver, test_fractional_reference_decodes_back_exactly)
{
	/* 11.2896 MHz does not divide 49.152 MHz: the ratio is 640 / 147, N = 4 plus 52 / 147. */
	struct cs47l63_fll_solution sol;

	zassert_ok(cs47l63_clock_solve(11289600, &sol));

	zassert_not_equal(sol.theta, 0, "a non-dividing reference needs a fractional term");
	zassert_equal(sol.n, 4, "the integer part of 640 / 147 is 4");
	zassert_equal(sol.lambda, 147, "the ratio in lowest terms has 147 as its denominator");
	zassert_equal(sol.theta, 52, "the remainder of 640 / 147 is 52");
	zassert_equal(decoded_fout(&sol, 11289600), CS47L63_FLL_FOUT_HZ,
		      "N + THETA / LAMBDA must decode back to 49.152 MHz exactly");
}

ZTEST(cs47l63_clock_solver, test_fields_fit_their_register_widths)
{
	struct cs47l63_fll_solution sol;

	zassert_ok(cs47l63_clock_solve(11289600, &sol));

	zassert_equal((uint32_t)sol.n & ~(CS47L63_FLL1_N_MASK >> CS47L63_FLL1_N_SHIFT), 0,
		      "N must fit the ten bits of FLL1_N");
	zassert_equal((uint32_t)sol.fb_div &
			      ~(CS47L63_FLL1_FB_DIV_MASK >> CS47L63_FLL1_FB_DIV_SHIFT),
		      0, "FB_DIV must fit the ten bits of FLL1_FB_DIV");
	zassert_true(sol.refclk_div <= 3, "REFCLK_DIV selects one of /1 /2 /4 /8");
	zassert_true(sol.hp <= 3, "FLL1_HP is a two-bit field");
	zassert_true(sol.lockdet_thr <= 0xF, "FLL1_LOCKDET_THR is a four-bit field");
}

ZTEST(cs47l63_clock_solver, test_zero_reference_rejected)
{
	struct cs47l63_fll_solution sol;

	zassert_equal(-EINVAL, cs47l63_clock_solve(0, &sol),
		      "a zero reference is a caller error, not an unreachable ratio");
}

ZTEST(cs47l63_clock_solver, test_null_solution_rejected)
{
	zassert_equal(-EINVAL, cs47l63_clock_solve(6144000, NULL));
}

ZTEST(cs47l63_clock_solver, test_reference_above_input_ceiling_rejected)
{
	struct cs47l63_fll_solution sol;

	zassert_true((120000000U >> 3) > FREF_MAX_HZ, "the premise: /8 does not bring it in range");
	zassert_equal(-ENOTSUP, cs47l63_clock_solve(120000000, &sol));
}
```
